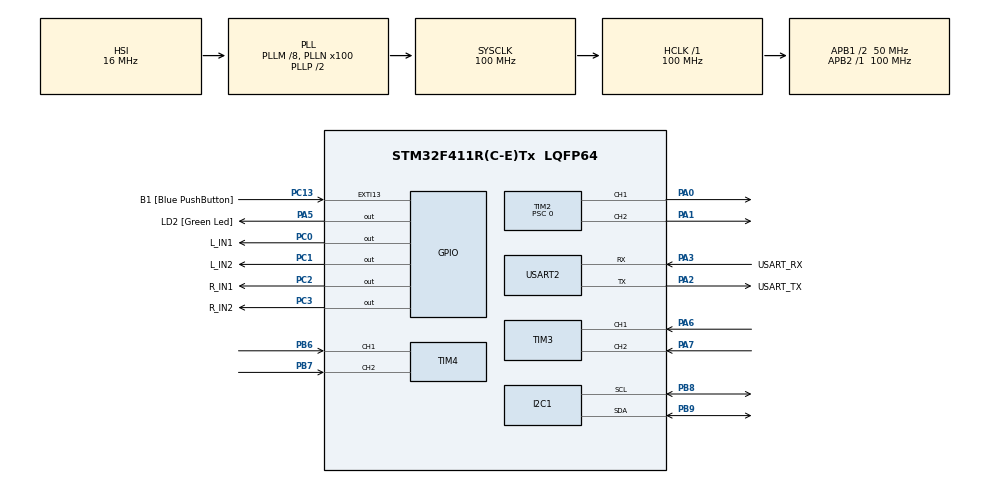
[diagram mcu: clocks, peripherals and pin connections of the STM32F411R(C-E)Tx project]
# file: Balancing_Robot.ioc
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I2C1.I2C_Mode=I2C_Fast
Mcu.Family=STM32F4
Mcu.Name=STM32F411R(C-E)Tx
Mcu.Package=LQFP64
NVIC.PriorityGroup=NVIC_PRIORITYGROUP_0
PA0-WKUP.Signal=S_TIM2_CH1_ETR
PA1.Signal=S_TIM2_CH2
PA13.GPIO_Label=TMS
PA13.Mode=Serial_Wire
PA13.Signal=SYS_JTMS-SWDIO
PA14.GPIO_Label=TCK
PA14.Mode=Serial_Wire
PA14.Signal=SYS_JTCK-SWCLK
PA2.GPIO_Label=USART_TX
PA2.Mode=Asynchronous
PA2.Signal=USART2_TX
PA3.GPIO_Label=USART_RX
PA3.Mode=Asynchronous
PA3.Signal=USART2_RX
PA5.GPIO_Label=LD2 [Green Led]
PA5.Signal=GPIO_Output
PA6.Signal=S_TIM3_CH1
PA7.Signal=S_TIM3_CH2
PB3.GPIO_Label=SWO
PB3.Signal=SYS_JTDO-SWO
PB6.Signal=S_TIM4_CH1
PB7.Signal=S_TIM4_CH2
PB8.Mode=I2C
PB8.Signal=I2C1_SCL
PB9.Mode=I2C
PB9.Signal=I2C1_SDA
PC0.GPIO_Label=L_IN1
PC0.Signal=GPIO_Output
PC1.GPIO_Label=L_IN2
PC1.Signal=GPIO_Output
PC13-ANTI_TAMP.GPIO_Label=B1 [Blue PushButton]
PC13-ANTI_TAMP.GPIO_ModeDefaultEXTI=GPIO_MODE_IT_FALLING
PC13-ANTI_TAMP.Signal=GPXTI13
PC14-OSC32_IN.Mode=LSE-External-Oscillator
PC14-OSC32_IN.Signal=RCC_OSC32_IN
PC15-OSC32_OUT.Mode=LSE-External-Oscillator
PC15-OSC32_OUT.Signal=RCC_OSC32_OUT
PC2.GPIO_Label=R_IN1
PC2.Signal=GPIO_Output
PC3.GPIO_Label=R_IN2
PC3.Signal=GPIO_Output
PH0\ -\ OSC_IN.Mode=HSE-External-Clock-Source
PH0\ -\ OSC_IN.Signal=RCC_OSC_IN
PH1\ -\ OSC_OUT.Mode=HSE-External-Clock-Source
PH1\ -\ OSC_OUT.Signal=RCC_OSC_OUT
ProjectManager.HeapSize=0x200
ProjectManager.StackSize=0x400
ProjectManager.TargetToolchain=STM32CubeIDE
RCC.48MHZClocksFreq_Value=50000000
RCC.AHBFreq_Value=100000000
RCC.APB1CLKDivider=RCC_HCLK_DIV2
RCC.APB1Freq_Value=50000000
RCC.APB1TimFreq_Value=100000000
RCC.APB2Freq_Value=100000000
RCC.APB2TimFreq_Value=100000000
RCC.CortexFreq_Value=100000000
RCC.FLatency-AdvancedSettings=FLASH_LATENCY_3
RCC.HCLKFreq_Value=100000000
RCC.HSE_VALUE=8000000
RCC.HSI_VALUE=16000000
RCC.PLLM=8
RCC.PLLN=100
RCC.SYSCLKFreq_VALUE=100000000
RCC.SYSCLKSource=RCC_SYSCLKSOURCE_PLLCLK
RCC.VCOOutputFreq_Value=200000000
SH.S_TIM2_CH1_ETR.0=TIM2_CH1,PWM Generation1 CH1
SH.S_TIM2_CH2.0=TIM2_CH2,PWM Generation2 CH2
SH.S_TIM3_CH1.0=TIM3_CH1,Encoder_Interface
SH.S_TIM3_CH2.0=TIM3_CH2,Encoder_Interface
SH.S_TIM4_CH1.0=TIM4_CH1,Encoder_Interface
SH.S_TIM4_CH2.0=TIM4_CH2,Encoder_Interface
TIM2.AutoReloadPreload=TIM_AUTORELOAD_PRELOAD_ENABLE
TIM2.Channel-PWM\ Generation1\ CH1=TIM_CHANNEL_1
TIM2.Channel-PWM\ Generation2\ CH2=TIM_CHANNEL_2
TIM2.Period=4999
TIM2.Prescaler=0
TIM3.EncoderMode=TIM_ENCODERMODE_TI12
TIM3.IC1Filter=10
TIM4.EncoderMode=TIM_ENCODERMODE_TI12
TIM4.IC1Filter=10
USART2.VirtualMode=VM_ASYNC
VP_TIM2_VS_ClockSourceINT.Mode=Internal
board=NUCLEO-F411RE

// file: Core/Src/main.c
/* USER CODE BEGIN Header */
/**
  ******************************************************************************
  * @file           : main.c
  * @brief          : Main program body
  ******************************************************************************
  * @attention
  *
  * Copyright (c) 2025 STMicroelectronics.
  * All rights reserved.
  *
  * This software is licensed under terms that can be found in the LICENSE file
  * in the root directory of this software component.
  * If no LICENSE file comes with this software, it is provided AS-IS.
  *
  ******************************************************************************
  */
/* USER CODE END Header */
#include "main.h"
#include "i2c.h"
#include "tim.h"
#include "usart.h"
#include "gpio.h"

/* USER CODE BEGIN Includes */
#include <stdio.h>
#include <string.h>
#include <math.h>
#include <stdlib.h>
#define WHO_AM_I_REG 0x75
/* USER CODE END Includes */

/* USER CODE BEGIN PV */
// --- [1. MPU6050 관련 변수] ---
uint8_t MPU6050_ADDR = 0xD0; // (0x68 << 1) or (0x70 << 1) 확인 필요
int16_t Acc_X_Raw, Acc_Z_Raw;
int16_t Gyro_Y_Raw;
float Acc_Angle, Gyro_Rate;
float Current_Angle = 0.0f;
float Loop_Time = 0.01f; // 10ms (100Hz)

// --- [2. PID 제어 변수] ---
// ★ 튜닝할 때 여기 숫자만 바꾸면 됩니다!
float Kp = 380.0f;   // 비례 항 - 힘
float Ki = 0.0f;    // 누적 오차 보정 - 적분
float Kd = 12.0f;    // 급발진 방지(진동을 잡아줌) - 미분

float Target_Angle = -2.0f; // 수직일 때 센서 오차값 (캘리브레이션 값)
float Error, Prev_Error;
float P_Term, I_Term, D_Term;
float PID_Output;

// --- [3. 모터 제어 변수] ---
int Motor_PWM_L, Motor_PWM_R;
/* USER CODE END PV */

void SystemClock_Config(void);
/* USER CODE BEGIN PFP */
void Read_MPU6050(void);
void Motor_Control(int speed_L, int speed_R);
/* USER CODE END PFP */

/* USER CODE BEGIN 0 */
// STM32CubeIDE(GCC)에서 printf 출력을 UART2로 연결
int __io_putchar(int ch) {
    HAL_UART_Transmit(&huart2, (uint8_t *)&ch, 1, 0xFFFF);
    return ch;
}
/* USER CODE END 0 */

int main(void)
{

  /* MCU Configuration--------------------------------------------------------*/

  /* Reset of all peripherals, Initializes the Flash interface and the Systick. */
  HAL_Init();

  /* Configure the system clock */
  SystemClock_Config();

  /* Initialize all configured peripherals */
  MX_GPIO_Init();
  MX_USART2_UART_Init();
  MX_I2C1_Init();
  MX_TIM2_Init();
  MX_TIM3_Init();
  MX_TIM4_Init();
  /* USER CODE BEGIN 2 */

    // printf("Balance Robot Start!\r\n");

    // 1. 통신 및 타이머 시작
    HAL_TIM_PWM_Start(&htim2, TIM_CHANNEL_1);
    HAL_TIM_PWM_Start(&htim2, TIM_CHANNEL_2);
    HAL_TIM_Encoder_Start(&htim3, TIM_CHANNEL_ALL);
    HAL_TIM_Encoder_Start(&htim4, TIM_CHANNEL_ALL);

    // 2. MPU6050 깨우기 (Sleep Mode 해제)
    uint8_t data = 0;
    HAL_I2C_Mem_Write(&hi2c1, MPU6050_ADDR, 0x6B, 1, &data, 1, 100);

    //0x1A 레지스터에 0x03을 써서 약 42Hz 이상의 진동 노이즈를 걸러냄.
    uint8_t dlpf_cfg = 0x03;
    HAL_I2C_Mem_Write(&hi2c1, MPU6050_ADDR, 0x1A, 1, &dlpf_cfg, 1, 100);
    //HAL_Delay(100);

  /* USER CODE END 2 */

  /* Infinite loop */
  while (1)
  {

  /* USER CODE BEGIN 3 */
	  // 데드존을 찾기 위해 pid관련 코드를 주석 처리 함
	uint32_t current_time;
	uint32_t prev_time = 0;

	while (1)
	{
	   current_time = HAL_GetTick();

	  if (current_time - prev_time >= 10) // 10ms 주기 (100Hz)
	  {
		prev_time = current_time;

		// 1. 센서 값 읽기
		Read_MPU6050();

		// ★ [안전장치 추가] 40도 이상 기울어지면 모터 끄기!
		if (Current_Angle > 40.0f || Current_Angle < -40.0f)
		{
			Motor_Control(0, 0); // 모터 정지

			// 넘어져 있을 때는 적분항(I)이 계속 쌓여서 폭발하는 것을 방지하기 위해 초기화
			Error = 0;
			Prev_Error = 0;
			I_Term = 0;
			PID_Output = 0;
		}
		else // 정상 범위(서 있을 때)에만 PID 작동
		{
			// 2. PID 계산
			Error = Target_Angle - Current_Angle;

			P_Term = Kp * Error;
			I_Term += Ki * Error * Loop_Time;
			D_Term = Kd * (Error - Prev_Error) / Loop_Time;

			// I항 누적 제한 (안전용)
			if(I_Term > 2000) I_Term = 2000;
			if(I_Term < -2000) I_Term = -2000;

			Prev_Error = Error;

			// 출력 계산 (부호 확인: 아까 반대로 바꾼 것 유지)
			PID_Output = (P_Term + I_Term + D_Term);
			/*float PID_Total = P_Term + I_Term + D_Term;
			float Min_PWM = 900.0f; // 모터가 '지잉-' 하고 겨우 굴러가는 힘

			// PID 값에 따라 기초 체력을 '살짝' 얹어줍니다.
			if (PID_Total > 0) {
			    PID_Output = PID_Total + Min_PWM;
			}
			else if (PID_Total < 0) {
			    PID_Output = PID_Total - Min_PWM;
			}
			else {
			    PID_Output = 0;
			}*/

			// 3. 모터 제한 및 구동 (풀 파워 해제 버전)
			if (PID_Output > 4700) PID_Output = 4700;
			if (PID_Output < -4700) PID_Output = -4700;

			Motor_Control((int)PID_Output, (int)PID_Output);
		}
		// [디버깅용 코드 추가]
		   //i 변수는 static으로 선언해서 값이 유지되게 함
		//  static int print_count = 0;
		 // if(print_count++ > 20) { // 200ms마다 한 번씩 출력
		//	  printf("Angle: %.2f\r\n", Current_Angle);
		//	  print_count = 0;
		 // }
	  }
	/* ★★★★★ [데드존 찾기 테스트 코드] ★★★★★
		  // 800 -> 1000 -> 1200 -> 1500 -> 1800 ...
		  int test_pwm = 300;

		  // 강제로 모터를 앞으로 돌림.
		  Motor_Control(test_pwm, test_pwm);

		  HAL_Delay(100); // 너무 빠르지 않게 0.1초 대기 */
	}

  /* USER CODE END 3 */
  }
}

void SystemClock_Config(void)
{
  RCC_OscInitTypeDef RCC_OscInitStruct = {0};
  RCC_ClkInitTypeDef RCC_ClkInitStruct = {0};

  /** Configure the main internal regulator output voltage
  */
  __HAL_RCC_PWR_CLK_ENABLE();
  __HAL_PWR_VOLTAGESCALING_CONFIG(PWR_REGULATOR_VOLTAGE_SCALE1);

  /** Initializes the RCC Oscillators according to the specified parameters
  * in the RCC_OscInitTypeDef structure.
  */
  RCC_OscInitStruct.OscillatorType = RCC_OSCILLATORTYPE_HSI;
  RCC_OscInitStruct.HSIState = RCC_HSI_ON;
  RCC_OscInitStruct.HSICalibrationValue = RCC_HSICALIBRATION_DEFAULT;
  RCC_OscInitStruct.PLL.PLLState = RCC_PLL_ON;
  RCC_OscInitStruct.PLL.PLLSource = RCC_PLLSOURCE_HSI;
  RCC_OscInitStruct.PLL.PLLM = 8;
  RCC_OscInitStruct.PLL.PLLN = 100;
  RCC_OscInitStruct.PLL.PLLP = RCC_PLLP_DIV2;
  RCC_OscInitStruct.PLL.PLLQ = 4;
  if (HAL_RCC_OscConfig(&RCC_OscInitStruct) != HAL_OK)
  {
    Error_Handler();
  }

  /** Initializes the CPU, AHB and APB buses clocks
  */
  RCC_ClkInitStruct.ClockType = RCC_CLOCKTYPE_HCLK|RCC_CLOCKTYPE_SYSCLK
                              |RCC_CLOCKTYPE_PCLK1|RCC_CLOCKTYPE_PCLK2;
  RCC_ClkInitStruct.SYSCLKSource = RCC_SYSCLKSOURCE_PLLCLK;
  RCC_ClkInitStruct.AHBCLKDivider = RCC_SYSCLK_DIV1;
  RCC_ClkInitStruct.APB1CLKDivider = RCC_HCLK_DIV2;
  RCC_ClkInitStruct.APB2CLKDivider = RCC_HCLK_DIV1;

  if (HAL_RCC_ClockConfig(&RCC_ClkInitStruct, FLASH_LATENCY_3) != HAL_OK)
  {
    Error_Handler();
  }
}

/* USER CODE BEGIN 4 */
void Read_MPU6050(void) {
	uint8_t buffer[6]; // 데이터 읽기용 버퍼

	// 가속도 읽기 (0x3B: ACCEL_YOUT_H 부터 Z까지) - X, Z축 사용
	HAL_I2C_Mem_Read(&hi2c1, MPU6050_ADDR, 0x3B, 1, buffer, 6, 100);
	Acc_X_Raw = (int16_t)(buffer[0] << 8 | buffer[1]);
	Acc_Z_Raw = (int16_t)(buffer[4] << 8 | buffer[5]);

	// 자이로 읽기 (0x45: GYRO_XOUT_H) - Y축 회전 사용
	HAL_I2C_Mem_Read(&hi2c1, MPU6050_ADDR, 0x45, 1, buffer, 2, 100);
	Gyro_Y_Raw = (int16_t)(buffer[0] << 8 | buffer[1]);

	// 각도 계산 (상보필터)
	// 1. 가속도 각도 (atan2)
	Acc_Angle = atan2f((float)Acc_X_Raw, (float)Acc_Z_Raw) * 57.296f;

	// 2. 자이로 각속도
	Gyro_Rate = -Gyro_Y_Raw / 131.0f;

	// 3. 상보필터 적용 (0.96 : 0.04)
	Current_Angle = 0.96f * (Current_Angle + Gyro_Rate * Loop_Time) + 0.04f * Acc_Angle;
}

void Motor_Control(int speed_L, int speed_R) {
    // 1. 데드존 설정 (300에서 움직였으니, 여유 있게 350으로 설정)
    // 이 값은 "바퀴를 굴리기 위한 최소 통행료"입니다.
    int deadzone = 750;

    // 2. 왼쪽 모터 제어
    if (speed_L > 0) {
        // 전진: 계산된 속도 + 데드존
        speed_L = speed_L + deadzone;

        HAL_GPIO_WritePin(GPIOC, GPIO_PIN_0, GPIO_PIN_SET);   // SET -> RESET
        HAL_GPIO_WritePin(GPIOC, GPIO_PIN_1, GPIO_PIN_RESET); // RESET -> SET
    }
    else if (speed_L < 0) {
        // 후진: 절대값 변환 후 + 데드존
        speed_L = abs(speed_L) + deadzone;

        HAL_GPIO_WritePin(GPIOC, GPIO_PIN_0, GPIO_PIN_RESET);
        HAL_GPIO_WritePin(GPIOC, GPIO_PIN_1, GPIO_PIN_SET);
    }
    else {
        speed_L = 0; // 0이면 정지
        HAL_GPIO_WritePin(GPIOC, GPIO_PIN_0, GPIO_PIN_RESET);
        HAL_GPIO_WritePin(GPIOC, GPIO_PIN_1, GPIO_PIN_RESET);
    }

    // 3. 오른쪽 모터 제어
    if (speed_R > 0) {
        speed_R = speed_R + deadzone;

        HAL_GPIO_WritePin(GPIOC, GPIO_PIN_2, GPIO_PIN_SET);   // IN1
        HAL_GPIO_WritePin(GPIOC, GPIO_PIN_3, GPIO_PIN_RESET); // IN2
    }
    else if (speed_R < 0) {
        speed_R = abs(speed_R) + deadzone;

        HAL_GPIO_WritePin(GPIOC, GPIO_PIN_2, GPIO_PIN_RESET);
        HAL_GPIO_WritePin(GPIOC, GPIO_PIN_3, GPIO_PIN_SET);
    }
    else {
        speed_R = 0;
        HAL_GPIO_WritePin(GPIOC, GPIO_PIN_2, GPIO_PIN_RESET);
        HAL_GPIO_WritePin(GPIOC, GPIO_PIN_3, GPIO_PIN_RESET);
    }

    // 4. 최대 속도 제한 (Period 4999 기준)
    if (speed_L > 4999) speed_L = 4999;
    if (speed_R > 4999) speed_R = 4999;

    // 5. PWM 출력
    __HAL_TIM_SET_COMPARE(&htim2, TIM_CHANNEL_1, speed_L);
    __HAL_TIM_SET_COMPARE(&htim2, TIM_CHANNEL_2, speed_R);
}
/* USER CODE END 4 */

void Error_Handler(void)
{
  __disable_irq();
  while (1)
  {
  }
}
